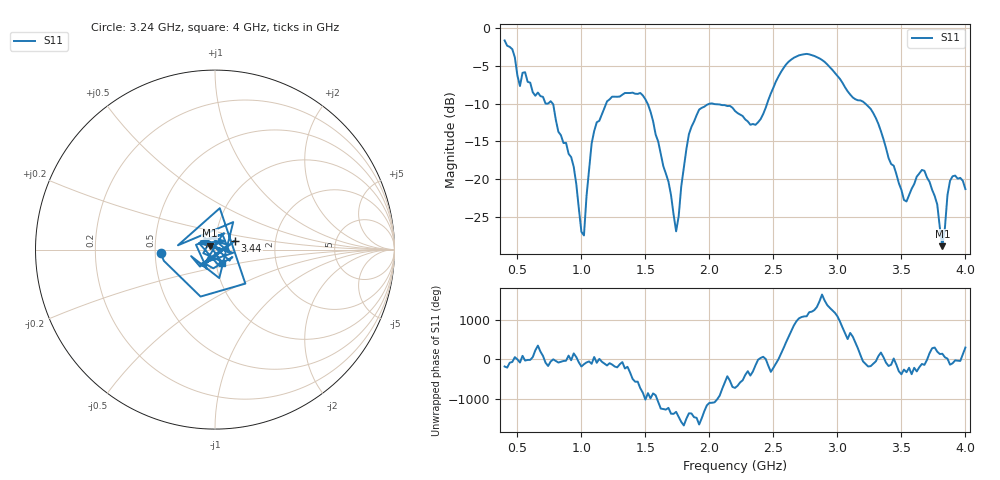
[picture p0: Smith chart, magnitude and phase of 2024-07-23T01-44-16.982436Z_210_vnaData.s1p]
!Created with skrf (http://scikit-rf.org).
# Hz S RI R 50.0
!freq ReS11 ImS11
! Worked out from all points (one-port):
!   181 points, 400 MHz to 4 GHz, reference 50 ohm
!   lowest |S11| = -28.8 dB at 3.82 GHz (marker M1), VSWR 1.07, Z = 47.1 + j2.03 ohm
!   |S11| at or under -10 dB: 775.2 MHz to 1.193 GHz (418.2 MHz wide, 42.5 % of centre); 1.517 GHz to 2.009 GHz (491.8 MHz wide, 27.9 % of centre); 3.218 GHz to end of sweep (the widest 3 of 5)
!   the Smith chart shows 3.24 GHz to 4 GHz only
!   S11 on the Smith chart (normalised r, x): 3.24 GHz: 0.53, -0.02; 3.44 GHz: 1.25, +0.13; 4 GHz: 1.07, -0.16
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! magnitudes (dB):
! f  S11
! 400 MHz  -1.7
! 520 MHz  -7.7
! 560 MHz  -5.9
! 780 MHz  -10.1
! 860 MHz  -15.2
! 940 MHz  -18.4
! 1.02 GHz  -27.4
! 1.1 GHz  -13.6
! 1.3 GHz  -9.1
! 1.52 GHz  -10.1
! 1.68 GHz  -20.3
! 1.74 GHz  -26.9
! 1.76 GHz  -24.9
! 1.84 GHz  -14.0
! 1.92 GHz  -10.8
! 2.2 GHz  -11.0
! 2.36 GHz  -12.8
! 2.66 GHz  -3.9
! 2.88 GHz  -4.2
! 3.1 GHz  -8.8
! 3.24 GHz  -10.4
! 3.44 GHz  -18.2
! 3.56 GHz  -22.1
! 3.68 GHz  -18.9
! 3.78 GHz  -23.3
! 3.82 GHz  -28.8
! 3.88 GHz  -20.2
! 4 GHz  -21.3
